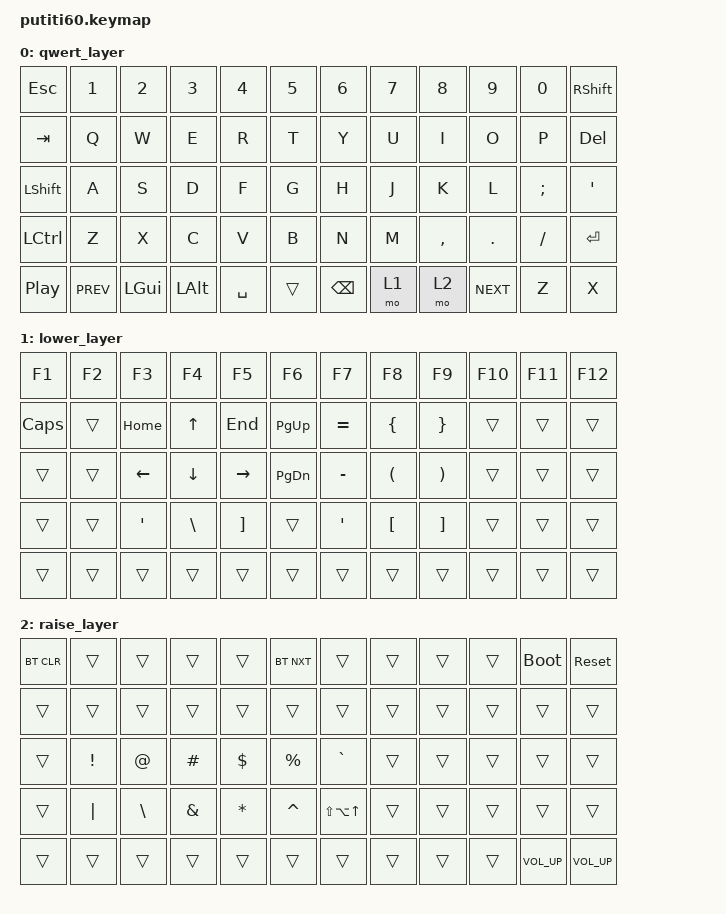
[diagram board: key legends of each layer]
#include <behaviors.dtsi>
#include <dt-bindings/zmk/bt.h>
#include <dt-bindings/zmk/keys.h>

#define DEFAULT 0
#define LOWER 1
#define RAISE 2

&lt {
        flavor = "balanced";
        tapping-term-ms = <150>;
};

/ {
        behaviors {
                td0: tap_dance_0 {
                        compatible = "zmk,behavior-tap-dance";
                        display-name = "TAP_DANCE_0";
                        #binding-cells = <0>;
                        tapping-term-ms = <200>;
                        bindings = <&kp LSHIFT>, <&kp CAPS>;
                };
                mo_tog: behavior_mo_tog {
                        compatible = "zmk,behavior-hold-tap";
                        display-name = "mo_tog";
                        flavor = "hold-preferred";
                        #binding-cells = <2>;
                        tapping-term-ms = <200>;
                        bindings = <&mo>, <&tog>;
                };        
        };


	keymap {
		compatible = "zmk,keymap";

		qwert_layer {
			bindings = <
                   &kp ESC   &kp N1      &kp N2    &kp N3    &kp N4    &kp N5 &kp N6    &kp N7  &kp N8     &kp N9     &kp N0    &kp RSHFT
                   &kp TAB   &kp Q       &kp W     &kp E     &kp R     &kp T  &kp Y     &kp U   &kp I      &kp O      &kp P     &kp DEL
                   &kp LSHFT &kp A       &kp S     &kp D     &kp F     &kp G  &kp H     &kp J   &kp K      &kp L      &kp SEMI  &kp SQT
                   &kp LCTRL &kp Z       &kp X     &kp C     &kp V     &kp B  &kp N     &kp M   &kp COMMA  &kp DOT    &kp FSLH  &kp ENTER
	           &kp C_PP  &kp C_PREV  &kp LGUI  &kp LALT  &kp SPACE &trans &kp BSPC  &mo 1   &mo 2      &kp C_NEXT &kp Z     &kp X
			>;
		};

		lower_layer {
			bindings = <
               &kp F1   &kp F2  &kp F3    &kp F4    &kp F5    &kp F6         &kp F7      &kp F8    &kp F9    &kp F10  &kp F11 &kp F12
               &kp CAPS &trans  &kp HOME  &kp UP    &kp END   &kp PAGE_UP    &kp EQUAL   &kp LBRC  &kp RBRC  &trans   &trans  &trans
               &trans   &trans  &kp LEFT  &kp DOWN  &kp RIGHT &kp PAGE_DOWN  &kp MINUS   &kp LPAR  &kp RPAR  &trans   &trans  &trans   
               &trans   &trans  &kp SQT   &kp BSLH  &kp RBKT  &trans         &kp SQT     &kp LBKT  &kp RBKT  &trans   &trans  &trans
               &trans   &trans  &trans    &trans    &trans    &trans         &trans      &trans    &trans    &trans   &trans  &trans
                        >; 
                };

		raise_layer {
			bindings = <
                &bt BT_CLR  &trans   &trans    &trans    &trans    &bt BT_NXT &trans          &trans  &trans  &trans  &bootloader   &sys_reset
                &trans      &trans   &trans    &trans    &trans    &trans     &trans          &trans  &trans  &trans  &trans        &trans
                &trans      &kp EXCL &kp AT    &kp HASH  &kp DLLR  &kp PRCNT  &kp GRAVE       &trans  &trans  &trans  &trans        &trans
                &trans      &kp PIPE &kp BSLH  &kp AMPS  &kp STAR  &kp CARET  &kp LS(LA(UP))  &trans  &trans  &trans  &trans        &trans 
                &trans      &trans   &trans    &trans    &trans    &trans     &trans          &trans  &trans  &trans  &kp C_VOL_UP  &kp C_VOL_UP
                        >;
		};
        };
};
